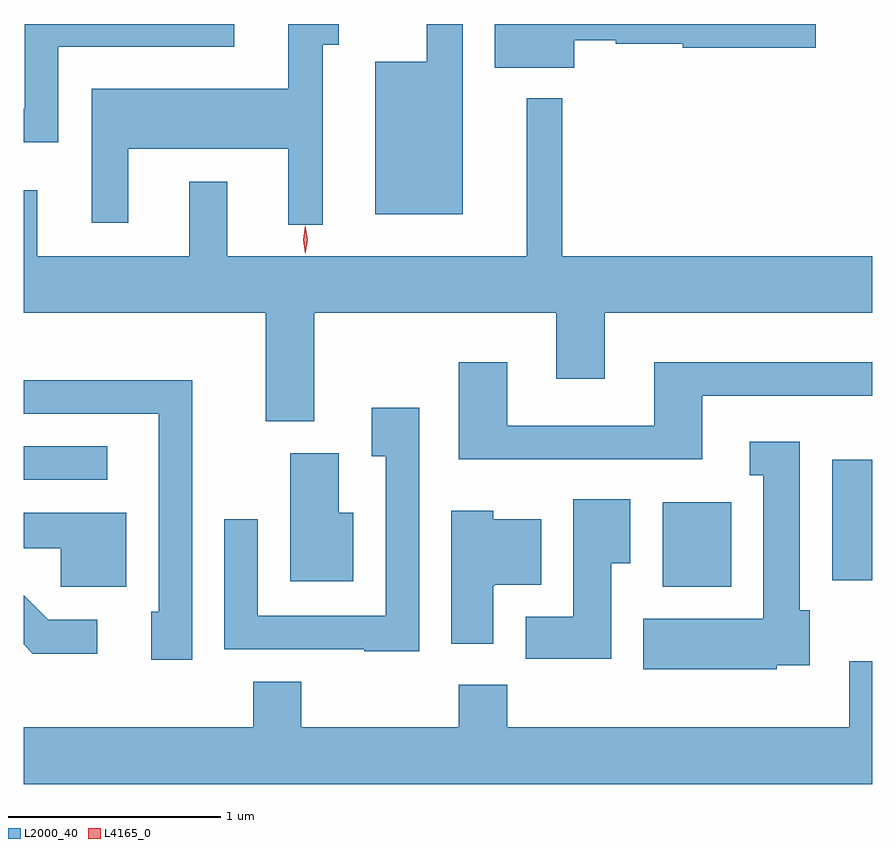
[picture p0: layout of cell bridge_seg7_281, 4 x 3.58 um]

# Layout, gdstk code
import gdstk
lib = gdstk.Library(unit=1e-6, precision=1e-09)
def R(c, l, rs):  # rectangles x0, y0, x1, y1
    for r in rs: c.add(gdstk.rectangle(r[:2], r[2:], *l))
def P(c, l, *ps):  # polygons
    for p in ps: c.add(gdstk.Polygon(p, *l))
L2000_40 = (2000, 40)
L4165_0 = (4165, 0)

bridge_seg7_281 = lib.new_cell('bridge_seg7_281')
R(bridge_seg7_281, L2000_40, [(1347.001,1757.426,1347.324,1757.824), (1347.801,1757.456,1347.99,1758.024), (1343.99,1757.931,1344.383,1758.089)])
P(bridge_seg7_281, L2000_40, [(1346.584,1760.001),(1346.78,1760.001),(1346.78,1759.986),(1347.096,1759.986),(1347.096,1759.966),(1347.724,1759.966),(1347.724,1760.078),(1346.211,1760.078),(1346.211,1759.871),(1346.584,1759.871)],
  [(1344.154,1759.971),(1344.983,1759.971),(1344.983,1760.078),(1343.996,1760.078),(1343.996,1759.679),(1343.99,1759.679),(1343.99,1759.521),(1344.154,1759.521)],
  [(1345.399,1759.981),(1345.474,1759.981),(1345.474,1760.078),(1345.236,1760.078),(1345.236,1759.774),(1344.311,1759.774),(1344.311,1759.141),(1344.484,1759.141),(1344.484,1759.491),(1345.236,1759.491),(1345.236,1759.133),(1345.399,1759.133)],
  [(1346.059,1760.078),(1345.891,1760.078),(1345.891,1759.899),(1345.646,1759.899),(1345.646,1759.181),(1346.059,1759.181)],
  [(1345.359,1758.716),(1346.501,1758.716),(1346.501,1758.406),(1346.729,1758.406),(1346.729,1758.716),(1347.99,1758.716),(1347.99,1758.984),(1346.529,1758.984),(1346.529,1759.728),(1346.361,1759.728),(1346.361,1758.984),(1344.949,1758.984),(1344.949,1759.334),(1344.771,1759.334),(1344.771,1758.984),(1344.054,1758.984),(1344.054,1759.294),(1343.99,1759.294),(1343.99,1758.716),(1345.131,1758.716),(1345.131,1758.206),(1345.359,1758.206)],
  [(1347.189,1758.326),(1347.99,1758.326),(1347.99,1758.484),(1346.961,1758.484),(1346.961,1758.184),(1346.269,1758.184),(1346.269,1758.484),(1346.041,1758.484),(1346.041,1758.026),(1347.189,1758.026)],
  [(1344.784,1758.399),(1343.99,1758.399),(1343.99,1758.241),(1344.626,1758.241),(1344.626,1757.309),(1344.591,1757.309),(1344.591,1757.081),(1344.784,1757.081)],
  [(1345.854,1758.269),(1345.631,1758.269),(1345.631,1758.041),(1345.696,1758.041),(1345.696,1757.289),(1345.094,1757.289),(1345.094,1757.743),(1344.936,1757.743),(1344.936,1757.131),(1345.595,1757.131),(1345.595,1757.121),(1345.854,1757.121)],
  [(1347.539,1757.056),(1347.694,1757.056),(1347.694,1757.314),(1347.649,1757.314),(1347.649,1758.109),(1347.413,1758.109),(1347.413,1757.951),(1347.476,1757.951),(1347.476,1757.274),(1346.911,1757.274),(1346.911,1757.036),(1347.539,1757.036)],
  [(1345.544,1757.774),(1345.474,1757.774),(1345.474,1758.054),(1345.246,1758.054),(1345.246,1757.451),(1345.544,1757.451)],
  [(1346.759,1757.536),(1346.849,1757.536),(1346.849,1757.839),(1346.581,1757.839),(1346.581,1757.284),(1346.356,1757.284),(1346.356,1757.086),(1346.759,1757.086)],
  [(1346.204,1757.43),(1346.21,1757.43),(1346.21,1757.436),(1346.429,1757.436),(1346.429,1757.744),(1346.204,1757.744),(1346.204,1757.784),(1346.006,1757.784),(1346.006,1757.156),(1346.204,1757.156)],
  [(1344.474,1757.774),(1343.99,1757.774),(1343.99,1757.606),(1344.166,1757.606),(1344.166,1757.426),(1344.474,1757.426)],
  [(1344.338,1757.269),(1344.107,1757.269),(1343.99,1757.386),(1343.99,1757.155),(1344.034,1757.111),(1344.338,1757.111)],
  [(1347.99,1757.074),(1347.881,1757.074),(1347.881,1756.764),(1346.269,1756.764),(1346.269,1756.964),(1346.041,1756.964),(1346.041,1756.764),(1345.299,1756.764),(1345.299,1756.979),(1345.071,1756.979),(1345.071,1756.764),(1343.99,1756.764),(1343.99,1756.496),(1347.99,1756.496)])
P(bridge_seg7_281, L4165_0, [(1345.318,1758.994),(1345.318,1758.995),(1345.308,1759.061),(1345.317,1759.127),(1345.318,1759.127),(1345.318,1759.127),(1345.328,1759.061),(1345.318,1758.995)])

lib.write_gds('bridge_seg7_281.gds')
